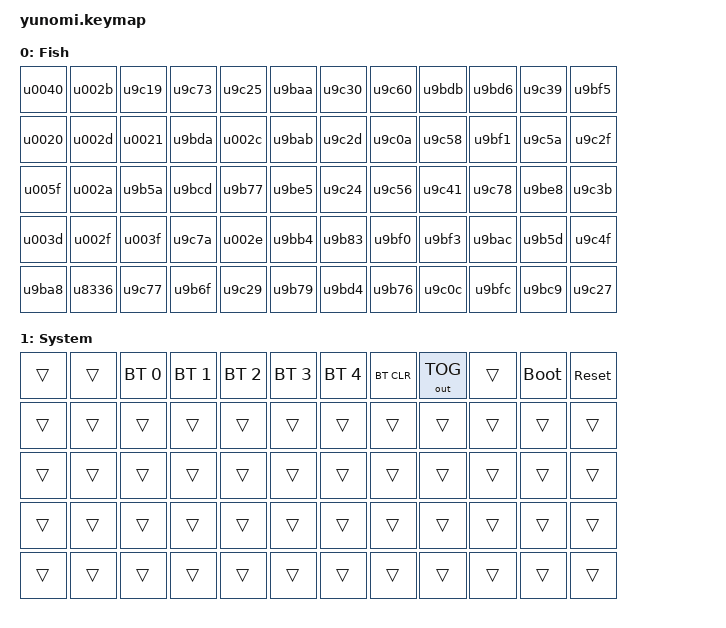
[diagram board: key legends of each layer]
/*
 * Gboard Yunomi keymap, matching the stock firmware: each key types
 * "U+XXXX", Space, Space, Enter, which Google Japanese Input (Mozc)
 * converts to the character. The host must run Mozc / Gboard.
 *
 * Generated from chars[][] in
 * https://github.com/google/mozc-devices/blob/main/mozc-yunomi/firmware/firmware.ino
 *
 * Hold @ + + (top-left two keys) for the system layer.
 */

#include <behaviors.dtsi>
#include <dt-bindings/zmk/keys.h>
#include <dt-bindings/zmk/bt.h>
#include <dt-bindings/zmk/outputs.h>

/* "+" for a US host. For a JIS host use LS(SEMI), like JP_KEYBOARD in the stock firmware. */
#define UPLUS LS(EQUAL)

#define MOZC(name, a, b, c, d)                                                                     \
    name: name {                                                                                   \
        compatible = "zmk,behavior-macro";                                                         \
        #binding-cells = <0>;                                                                      \
        bindings = <&macro_tap &kp LS(U) &kp UPLUS &kp a &kp b &kp c &kp d                         \
                    &kp SPACE &kp SPACE &kp RET>;                                                  \
    };

/ {
    macros {
        MOZC(u0040, N0, N0, N4, N0) // @
        MOZC(u002b, N0, N0, N2, LS(B)) // +
        MOZC(u9c19, N9, LS(C), N1, N9) // 鰙
        MOZC(u9c73, N9, LS(C), N7, N3) // 鱳
        MOZC(u9c25, N9, LS(C), N2, N5) // 鰥
        MOZC(u9baa, N9, LS(B), LS(A), LS(A)) // 鮪
        MOZC(u9c30, N9, LS(C), N3, N0) // 鰰
        MOZC(u9c60, N9, LS(C), N6, N0) // 鱠
        MOZC(u9bdb, N9, LS(B), LS(D), LS(B)) // 鯛
        MOZC(u9bd6, N9, LS(B), LS(D), N6) // 鯖
        MOZC(u9c39, N9, LS(C), N3, N9) // 鰹
        MOZC(u9bf5, N9, LS(B), LS(F), N5) // 鯵
        MOZC(u0020, N0, N0, N2, N0) // space
        MOZC(u002d, N0, N0, N2, LS(D)) // -
        MOZC(u0021, N0, N0, N2, N1) // !
        MOZC(u9bda, N9, LS(B), LS(D), LS(A)) // 鯚
        MOZC(u002c, N0, N0, N2, LS(C)) // ,
        MOZC(u9bab, N9, LS(B), LS(A), LS(B)) // 鮫
        MOZC(u9c2d, N9, LS(C), N2, LS(D)) // 鰭
        MOZC(u9c0a, N9, LS(C), N0, LS(A)) // 鰊
        MOZC(u9c58, N9, LS(C), N5, N8) // 鱘
        MOZC(u9bf1, N9, LS(B), LS(F), N1) // 鯱
        MOZC(u9c5a, N9, LS(C), N5, LS(A)) // 鱚
        MOZC(u9c2f, N9, LS(C), N2, LS(F)) // 鰯
        MOZC(u005f, N0, N0, N5, LS(F)) // _
        MOZC(u002a, N0, N0, N2, LS(A)) // *
        MOZC(u9b5a, N9, LS(B), N5, LS(A)) // 魚
        MOZC(u9bcd, N9, LS(B), LS(C), LS(D)) // 鯍
        MOZC(u9b77, N9, LS(B), N7, N7) // 魷
        MOZC(u9be5, N9, LS(B), LS(E), N5) // 鯥
        MOZC(u9c24, N9, LS(C), N2, N4) // 鰤
        MOZC(u9c56, N9, LS(C), N5, N6) // 鱖
        MOZC(u9c41, N9, LS(C), N4, N1) // 鱁
        MOZC(u9c78, N9, LS(C), N7, N8) // 鱸
        MOZC(u9be8, N9, LS(B), LS(E), N8) // 鯨
        MOZC(u9c3b, N9, LS(C), N3, LS(B)) // 鰻
        MOZC(u003d, N0, N0, N3, LS(D)) // =
        MOZC(u002f, N0, N0, N2, LS(F)) // /
        MOZC(u003f, N0, N0, N3, LS(F)) // ?
        MOZC(u9c7a, N9, LS(C), N7, LS(A)) // 鱺
        MOZC(u002e, N0, N0, N2, LS(E)) // .
        MOZC(u9bb4, N9, LS(B), LS(B), N4) // 鮴
        MOZC(u9b83, N9, LS(B), N8, N3) // 鮃
        MOZC(u9bf0, N9, LS(B), LS(F), N0) // 鯰
        MOZC(u9bf3, N9, LS(B), LS(F), N3) // 鯳
        MOZC(u9bac, N9, LS(B), LS(A), LS(C)) // 鮬
        MOZC(u9b5d, N9, LS(B), N5, LS(D)) // 魝
        MOZC(u9c4f, N9, LS(C), N4, LS(F)) // 鱏
        MOZC(u9ba8, N9, LS(B), LS(A), N8) // 鮨
        MOZC(u8336, N8, N3, N3, N6) // 茶
        MOZC(u9c77, N9, LS(C), N7, N7) // 鱷
        MOZC(u9b6f, N9, LS(B), N6, LS(F)) // 魯
        MOZC(u9c29, N9, LS(C), N2, N9) // 鰩
        MOZC(u9b79, N9, LS(B), N7, N9) // 魹
        MOZC(u9bd4, N9, LS(B), LS(D), N4) // 鯔
        MOZC(u9b76, N9, LS(B), N7, N6) // 魶
        MOZC(u9c0c, N9, LS(C), N0, LS(C)) // 鰌
        MOZC(u9bfc, N9, LS(B), LS(F), LS(C)) // 鯼
        MOZC(u9bc9, N9, LS(B), LS(C), N9) // 鯉
        MOZC(u9c27, N9, LS(C), N2, N7) // 鰧
    };

    combos {
        compatible = "zmk,combos";
        combo_sys {
            timeout-ms = <50>;
            key-positions = <0 1>;
            bindings = <&mo 1>;
        };
    };

    keymap {
        compatible = "zmk,keymap";

        default_layer {
            display-name = "Fish";
            // @  +  鰙  鱳  鰥  鮪  鰰  鱠  鯛  鯖  鰹  鯵
            // ␣  -  !  鯚  ,  鮫  鰭  鰊  鱘  鯱  鱚  鰯
            // _  *  魚  鯍  魷  鯥  鰤  鱖  鱁  鱸  鯨  鰻
            // =  /  ?  鱺  .  鮴  鮃  鯰  鯳  鮬  魝  鱏
            // 鮨  茶  鱷  魯  鰩  魹  鯔  魶  鰌  鯼  鯉  鰧
            bindings = <
&u0040 &u002b &u9c19 &u9c73 &u9c25 &u9baa &u9c30 &u9c60 &u9bdb &u9bd6 &u9c39 &u9bf5
&u0020 &u002d &u0021 &u9bda &u002c &u9bab &u9c2d &u9c0a &u9c58 &u9bf1 &u9c5a &u9c2f
&u005f &u002a &u9b5a &u9bcd &u9b77 &u9be5 &u9c24 &u9c56 &u9c41 &u9c78 &u9be8 &u9c3b
&u003d &u002f &u003f &u9c7a &u002e &u9bb4 &u9b83 &u9bf0 &u9bf3 &u9bac &u9b5d &u9c4f
&u9ba8 &u8336 &u9c77 &u9b6f &u9c29 &u9b79 &u9bd4 &u9b76 &u9c0c &u9bfc &u9bc9 &u9c27
            >;
        };

        sys_layer {
            display-name = "System";
            bindings = <
&trans &trans &bt BT_SEL 0 &bt BT_SEL 1 &bt BT_SEL 2 &bt BT_SEL 3 &bt BT_SEL 4 &bt BT_CLR &out OUT_TOG &trans &bootloader &sys_reset
&trans &trans &trans       &trans       &trans       &trans       &trans       &trans      &trans        &trans &trans      &trans
&trans &trans &trans       &trans       &trans       &trans       &trans       &trans      &trans        &trans &trans      &trans
&trans &trans &trans       &trans       &trans       &trans       &trans       &trans      &trans        &trans &trans      &trans
&trans &trans &trans       &trans       &trans       &trans       &trans       &trans      &trans        &trans &trans      &trans
            >;
        };
    };
};
